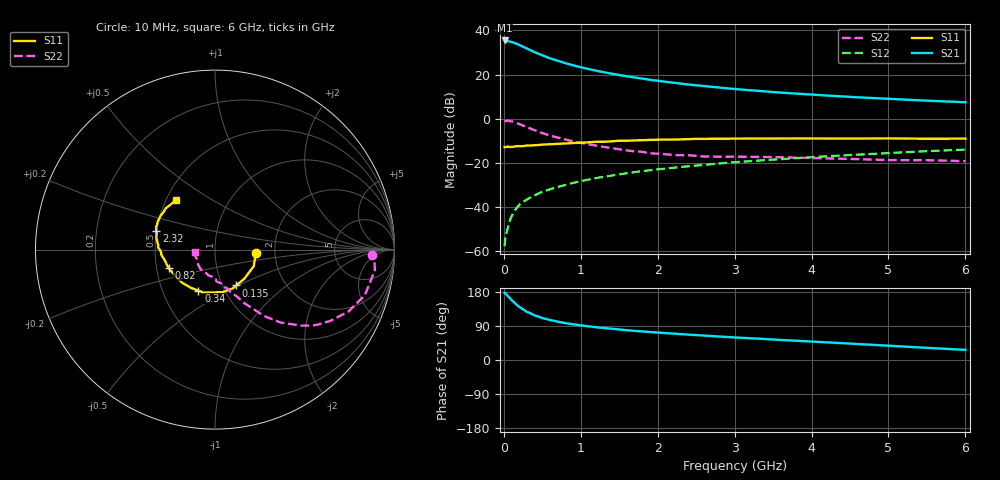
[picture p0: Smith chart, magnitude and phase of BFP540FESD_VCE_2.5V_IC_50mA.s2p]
! Infineon Technologies  Discrete & RF Semiconductors
! BFP540FESD
! VCE =  2.5 V,  IC =  50 mA
! Common Emitter S-Parameters:  Nov 2015
# GHz  S  MA  R  50
!  f  S11  S21  S12  S22
! GHz  MAG  ANG  MAG  ANG  MAG  ANG  MAG  ANG
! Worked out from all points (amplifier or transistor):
!   210 points, 10 MHz to 6 GHz, reference 50 ohm
!   highest |S21| = 35.4 dB at 10 MHz (marker M1)
!   |S21| within 3 dB of that: start of sweep to 258.4 MHz
!   unconditionally stable (mu >= 1): start of sweep to 15.25 MHz; 1.236 GHz to end of sweep
!   at 185 MHz: K = 0.48, MSG = 36.6 dB, |S12| = -39.7 dB
!   at 1.52 GHz: K = 1.03, MAG = 21.3 dB, |S12| = -25.1 dB
!   at 6 GHz: K = 1.16, MAG = 8.3 dB, |S12| = -14.0 dB
!   S11 on the Smith chart (normalised r, x): 10 MHz: 1.58, -0.06; 135 MHz: 1.16, -0.49; 340 MHz: 0.75, -0.37; 820 MHz: 0.58, -0.13; 2.32 GHz: 0.50, +0.11; 6 GHz: 0.56, +0.36
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0.01  0.2267 -4.9  59.08 177.3  0.0013 120.7  0.8763 -2.1
0.02  0.2281 -12.0  57.55 175.7  0.0021 111.2  0.8865 -1.2
0.05  0.2349 -23.2  57.41 169.2  0.0033 83.7  0.8981 -7.4
0.1  0.2302 -44.6  54.65 158.2  0.0062 84.5  0.8728 -16.9
0.135  0.2324 -59.3  52.1 151.6  0.0079 80.7  0.8345 -22.3
0.15  0.2379 -65.4  51.23 148.6  0.0087 79.5  0.8205 -24.8
0.2  0.2406 -79.4  46.73 140.0  0.0111 76.9  0.7576 -31.5
0.26  0.2402 -95.4  41.7 132.1  0.0134 73.9  0.6875 -38.0
0.3  0.248 -104.9  38.67 127.1  0.0148 72.6  0.6417 -41.3
0.34  0.2467 -111.9  35.93 123.8  0.0162 72.0  0.6029 -43.7
0.4  0.2516 -122.2  32.11 117.7  0.0184 71.3  0.547 -48.0
0.5  0.2595 -134.4  27.18 110.7  0.0221 71.3  0.4707 -52.8
0.6  0.2646 -143.7  23.28 105.4  0.0252 72.2  0.4153 -55.9
0.82  0.2776 -158.9  17.65 96.6  0.0325 71.1  0.3305 -61.9
1.02  0.2858 -167.7  14.33 90.8  0.0394 70.4  0.28 -66.0
1.5  0.3177 177.9  9.733 80.4  0.0552 68.1  0.2039 -78.1
2.02  0.3355 167.0  7.136 72.0  0.0717 65.3  0.161 -93.5
2.32  0.3421 162.7  6.169 68.0  0.0813 63.4  0.1493 -101.3
3.1  0.3545 153.7  4.554 58.5  0.1064 58.3  0.1375 -120.1
4.1  0.3562 146.8  3.421 47.6  0.1382 51.6  0.1274 -135.9
5.1  0.3567 139.0  2.765 36.6  0.1708 43.4  0.1151 -151.4
6  0.3541 128.1  2.362 26.7  0.1998 35.5  0.1097 -172.3
